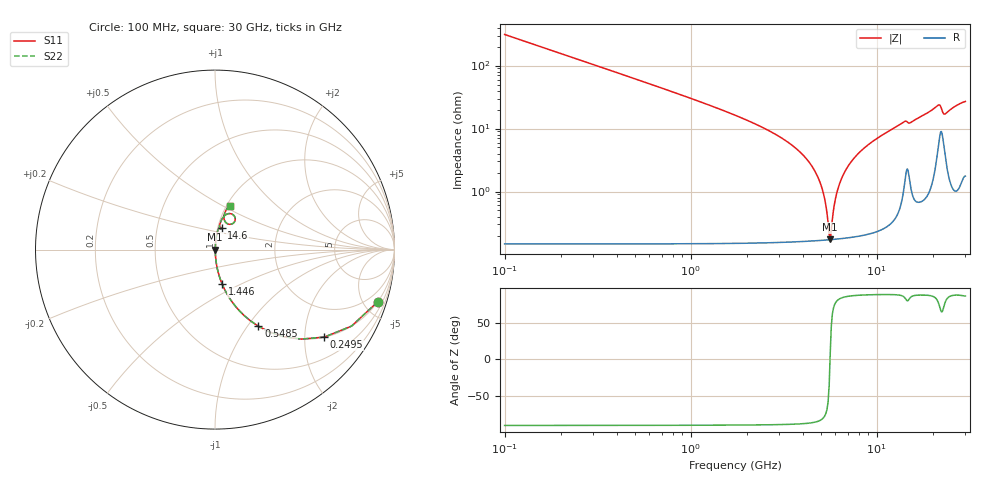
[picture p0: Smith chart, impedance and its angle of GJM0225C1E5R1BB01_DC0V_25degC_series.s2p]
!Murata Part Number: GJM0225C1E5R1BB01
!These Parameters are Measured in Series Mode Connection
!  o--ll--o
!Port1  Port2
!  o------o
!Operation Temp=25[degC], DC Bias Voltage=0[V]
!Freq. Start=100[MHz] Stop=30[GHz], 401[Steps]
!Data Generated on Feb 1, 2023
# Hz S RI R 50
!Freq.(Hz) S11(Real) S11(Imag) S21(Real) S21(Imag) S12(Real) S12(Imag) S22(Real) S22(Imag)
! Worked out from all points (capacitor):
!   401 points, 100 MHz to 30 GHz, reference 50 ohm
!   read as one part in series: C = 5.1 pF near 249.5 MHz
!   lowest |Z| = 174 mohm at 5.631 GHz (marker M1)
!   series resonance near 5.618 GHz, so ESL is about 160 pH
!   S11 on the Smith chart (normalised r, x): 100 MHz: 1.00, -6.24; 249.5 MHz: 1.00, -2.50; 548.5 MHz: 1.00, -1.13; 1.446 GHz: 1.00, -0.40; 14.6 GHz: 1.05, +0.25; 30 GHz: 1.04, +0.54
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1e8  0.9067 -0.2906  0.0933 0.2906  0.0933 0.2906  0.9067 -0.2906
2.495e8  0.609 -0.4874  0.391 0.4874  0.391 0.4874  0.609 -0.4874
5.485e8  0.2416 -0.4268  0.7584 0.4268  0.7584 0.4268  0.2416 -0.4268
8.475e8  0.1157 -0.3178  0.8843 0.3178  0.8843 0.3178  0.1157 -0.3178
1.4455e9  0.0404 -0.1932  0.9596 0.1932  0.9596 0.1932  0.0404 -0.1932
4.1365e9  0.0028 -0.0345  0.9972 0.0345  0.9972 0.0345  0.0028 -0.0345
4.7345e9  0.00201 -0.0191  0.998 0.0191  0.998 0.0191  0.00201 -0.0191
5.10825e9  0.00179 -0.0106  0.9982 0.0106  0.9982 0.0106  0.00179 -0.0106
5.482e9  0.00171 -0.00272  0.9983 0.00272  0.9983 0.00272  0.00171 -0.00272
5.6315e9  0.00171 0.00027  0.9983 -0.00027  0.9983 -0.00027  0.00171 0.00027
5.70625e9  0.00172 0.00174  0.9983 -0.00174  0.9983 -0.00174  0.00172 0.00174
6.15475e9  0.00186 0.0102  0.9981 -0.0102  0.9981 -0.0102  0.00186 0.0102
6.8275e9  0.0023 0.0219  0.9977 -0.0219  0.9977 -0.0219  0.0023 0.0219
8.09825e9  0.00371 0.0418  0.9963 -0.0418  0.9963 -0.0418  0.00371 0.0418
1.01165e10  0.00725 0.0699  0.9928 -0.0699  0.9928 -0.0699  0.00725 0.0699
1.46015e10  0.0368 0.1183  0.9632 -0.1183  0.9632 -0.1183  0.0368 0.1183
1.505e10  0.0286 0.1162  0.9714 -0.1162  0.9714 -0.1162  0.0286 0.1162
2.005825e10  0.0521 0.188  0.9479 -0.188  0.9479 -0.188  0.0521 0.188
2.170275e10  0.1041 0.1913  0.8959 -0.1913  0.8959 -0.1913  0.1041 0.1913
2.304825e10  0.0697 0.1439  0.9303 -0.1439  0.9303 -0.1439  0.0697 0.1439
2.50665e10  0.0507 0.1898  0.9493 -0.1898  0.9493 -0.1898  0.0507 0.1898
3e10  0.0813 0.2425  0.9187 -0.2425  0.9187 -0.2425  0.0813 0.2425
